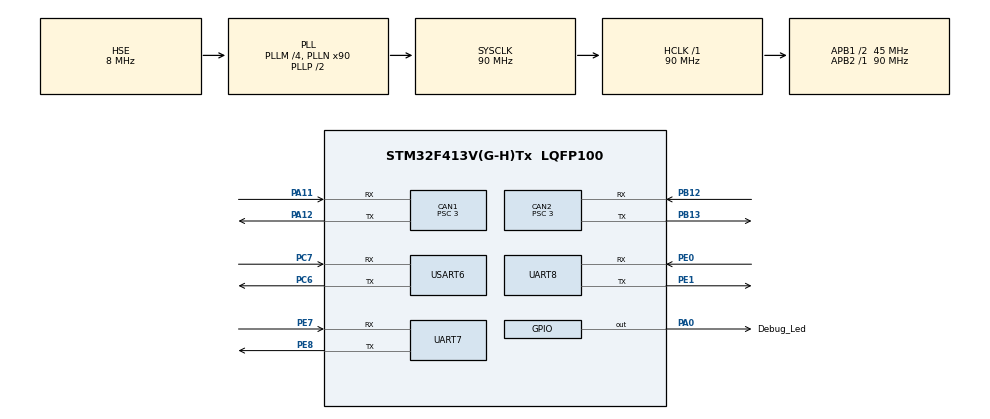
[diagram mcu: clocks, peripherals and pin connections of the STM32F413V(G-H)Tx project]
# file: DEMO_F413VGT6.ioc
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CAN1.ABOM=ENABLE
CAN1.BS1=CAN_BS1_10TQ
CAN1.BS2=CAN_BS2_4TQ
CAN1.CalculateBaudRate=1000000
CAN1.CalculateTimeBit=1000
CAN1.CalculateTimeQuantum=66.66666666666666
CAN1.NART=ENABLE
CAN1.Prescaler=3
CAN2.ABOM=ENABLE
CAN2.BS1=CAN_BS1_10TQ
CAN2.BS2=CAN_BS2_4TQ
CAN2.CalculateBaudRate=1000000
CAN2.CalculateTimeBit=1000
CAN2.CalculateTimeQuantum=66.66666666666666
CAN2.NART=DISABLE
CAN2.Prescaler=3
Mcu.Family=STM32F4
Mcu.Name=STM32F413V(G-H)Tx
Mcu.Package=LQFP100
NVIC.CAN1_RX0_IRQn=true\:0\:0\:false\:false\:true\:true\:true\:true
NVIC.CAN1_RX1_IRQn=true\:0\:0\:false\:false\:true\:true\:true\:true
NVIC.CAN2_RX0_IRQn=true\:0\:0\:false\:false\:true\:true\:true\:true
NVIC.CAN2_RX1_IRQn=true\:0\:0\:false\:false\:true\:true\:true\:true
NVIC.PriorityGroup=NVIC_PRIORITYGROUP_4
NVIC.UART7_IRQn=true\:0\:0\:false\:false\:true\:true\:true\:true
NVIC.UART8_IRQn=true\:0\:0\:false\:false\:true\:true\:true\:true
NVIC.USART6_IRQn=true\:0\:0\:false\:false\:true\:true\:true\:true
PA0.GPIO_Label=Debug_Led
PA0.GPIO_Speed=GPIO_SPEED_FREQ_LOW
PA0.PinState=GPIO_PIN_RESET
PA0.Signal=GPIO_Output
PA11.Mode=CAN_Activate
PA11.Signal=CAN1_RX
PA12.Mode=CAN_Activate
PA12.Signal=CAN1_TX
PA13.Mode=Serial_Wire
PA13.Signal=SYS_JTMS-SWDIO
PA14.Mode=Serial_Wire
PA14.Signal=SYS_JTCK-SWCLK
PB12.GPIO_Speed=GPIO_SPEED_FREQ_VERY_HIGH
PB12.Mode=CAN_Activate
PB12.Signal=CAN2_RX
PB13.Mode=CAN_Activate
PB13.Signal=CAN2_TX
PC14-OSC32_IN.Mode=LSE-External-Oscillator
PC14-OSC32_IN.Signal=RCC_OSC32_IN
PC15-OSC32_OUT.Mode=LSE-External-Oscillator
PC15-OSC32_OUT.Signal=RCC_OSC32_OUT
PC6.Mode=Asynchronous
PC6.Signal=USART6_TX
PC7.Mode=Asynchronous
PC7.Signal=USART6_RX
PE0.Mode=Asynchronous
PE0.Signal=UART8_RX
PE1.Mode=Asynchronous
PE1.Signal=UART8_TX
PE7.Mode=Asynchronous
PE7.Signal=UART7_RX
PE8.Mode=Asynchronous
PE8.Signal=UART7_TX
PH0\ -\ OSC_IN.Mode=HSE-External-Oscillator
PH0\ -\ OSC_IN.Signal=RCC_OSC_IN
PH1\ -\ OSC_OUT.Mode=HSE-External-Oscillator
PH1\ -\ OSC_OUT.Signal=RCC_OSC_OUT
ProjectManager.HeapSize=0x200
ProjectManager.StackSize=0x400
ProjectManager.TargetToolchain=MDK-ARM V5.32
RCC.AHBFreq_Value=90000000
RCC.APB1CLKDivider=RCC_HCLK_DIV2
RCC.APB1Freq_Value=45000000
RCC.APB1TimFreq_Value=90000000
RCC.APB2Freq_Value=90000000
RCC.APB2TimFreq_Value=90000000
RCC.CortexFreq_Value=90000000
RCC.HCLKFreq_Value=90000000
RCC.HSE_VALUE=8000000
RCC.PLLM=4
RCC.PLLN=90
RCC.PLLSourceVirtual=RCC_PLLSOURCE_HSE
RCC.SYSCLKFreq_VALUE=90000000
RCC.SYSCLKSource=RCC_SYSCLKSOURCE_PLLCLK
RCC.USBFreq_Value=90000000
RCC.VCOOutputFreq_Value=180000000
UART7.VirtualMode=Asynchronous
UART8.VirtualMode=Asynchronous
USART6.VirtualMode=VM_ASYNC
board=custom

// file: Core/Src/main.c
/* USER CODE BEGIN Header */
/**
  ******************************************************************************
  * @file           : main.c
  * @brief          : Main program body
  ******************************************************************************
  * @attention
  *
  * Copyright (c) 2023 STMicroelectronics.
  * All rights reserved.
  *
  * This software is licensed under terms that can be found in the LICENSE file
  * in the root directory of this software component.
  * If no LICENSE file comes with this software, it is provided AS-IS.
  *
  ******************************************************************************
  */
/* USER CODE END Header */
#include "main.h"
#include "can.h"
#include "usart.h"
#include "gpio.h"

/* USER CODE BEGIN Includes */
#include "can_database.h"
#include "com_chassis.h"
#include "pid.h"
#include "dji_motor.h"
#include "basic_action.h"
#include "angle.h"
#include "pan.h"
#include "calculate_angle.h"
#include "bezier.h"
#include "math.h"
#include "task1.h"
#include "remote.h"
#define ARRAY_SIZE 60

/* USER CODE END Includes */

void SystemClock_Config(void);

/* USER CODE BEGIN 0 */
uint32_t time[4]={0};
extern float theta[2];
extern float set_point[2][20];
static motor_measure_t motor_inf[8]={0};
float target_angle1,target_angle2=0;
float target1[20]={0};//目标角度1
float target2[20]={0};//目标角度2
extern float target_angle3;
float x,y,z,r=0;

float data[ARRAY_SIZE]={
        0.0000, 1.1458, 2.2906, 3.4336, 4.5739, 5.7106, 6.8428, 7.9696,
        9.0903, 10.2040, 11.3099, 12.4074, 13.4957, 14.5742, 15.6422,
        16.6992, 17.7447, 18.7780, 19.7989, 20.8068, 21.8014, 22.7824,
        23.7495, 24.7024, 25.6410, 26.5651, 27.4744, 28.3690, 29.2488,
        30.1137, 30.9638, 31.7989, 32.6192, 33.4248, 34.2157, 34.9920,
        35.7539, 36.5014, 37.2348, 37.9542, 38.6598, 39.3518, 40.0303,
        40.6955, 41.3478, 41.9872, 42.6141, 43.2285, 43.8309, 44.4213,
        45.0000, 47.7263, 50.1944, 52.4314, 54.4623, 56.3099, 57.9946,
        59.5345, 60.9454, 62.2415};//tan(x)的部分值
/* USER CODE END 0 */

int main(void)
{

  /* MCU Configuration--------------------------------------------------------*/

  /* Reset of all peripherals, Initializes the Flash interface and the Systick. */
  HAL_Init();

  /* Configure the system clock */
  SystemClock_Config();

  /* Initialize all configured peripherals */
  MX_GPIO_Init();
  MX_CAN1_Init();
  MX_CAN2_Init();
  MX_UART7_Init();
  MX_UART8_Init();
  MX_USART6_UART_Init();
  /* USER CODE BEGIN 2 */
  Can_start_work();
	Pid_parameter_init();
	HAL_UART_Receive_IT(&huart7, &recv_data, 1);
  /* USER CODE END 2 */

  /* Infinite loop */
  /* USER CODE BEGIN WHILE */

	time[0]=HAL_GetTick();
	time[1]=time[0];time[2]=time[0];time[3]=time[0];

	USART_printf("ok\n");

  while (1)
  {
    //  Change_dji_loc(1,8000);
      pan_angle(2,720);
     // Change_dji_loc(2,8000);
//      if(rc.sw1==0&&rc.sw2==0)
//      {
//          task3(100,200);
//      }

    /* USER CODE END WHILE */

  }
}

void SystemClock_Config(void)
{
  RCC_OscInitTypeDef RCC_OscInitStruct = {0};
  RCC_ClkInitTypeDef RCC_ClkInitStruct = {0};

  /** Configure the main internal regulator output voltage
  */
  __HAL_RCC_PWR_CLK_ENABLE();
  __HAL_PWR_VOLTAGESCALING_CONFIG(PWR_REGULATOR_VOLTAGE_SCALE1);

  /** Initializes the RCC Oscillators according to the specified parameters
  * in the RCC_OscInitTypeDef structure.
  */
  RCC_OscInitStruct.OscillatorType = RCC_OSCILLATORTYPE_HSE;
  RCC_OscInitStruct.HSEState = RCC_HSE_ON;
  RCC_OscInitStruct.PLL.PLLState = RCC_PLL_ON;
  RCC_OscInitStruct.PLL.PLLSource = RCC_PLLSOURCE_HSE;
  RCC_OscInitStruct.PLL.PLLM = 4;
  RCC_OscInitStruct.PLL.PLLN = 90;
  RCC_OscInitStruct.PLL.PLLP = RCC_PLLP_DIV2;
  RCC_OscInitStruct.PLL.PLLQ = 2;
  RCC_OscInitStruct.PLL.PLLR = 2;
  if (HAL_RCC_OscConfig(&RCC_OscInitStruct) != HAL_OK)
  {
    Error_Handler();
  }

  /** Initializes the CPU, AHB and APB buses clocks
  */
  RCC_ClkInitStruct.ClockType = RCC_CLOCKTYPE_HCLK|RCC_CLOCKTYPE_SYSCLK
                              |RCC_CLOCKTYPE_PCLK1|RCC_CLOCKTYPE_PCLK2;
  RCC_ClkInitStruct.SYSCLKSource = RCC_SYSCLKSOURCE_PLLCLK;
  RCC_ClkInitStruct.AHBCLKDivider = RCC_SYSCLK_DIV1;
  RCC_ClkInitStruct.APB1CLKDivider = RCC_HCLK_DIV2;
  RCC_ClkInitStruct.APB2CLKDivider = RCC_HCLK_DIV1;

  if (HAL_RCC_ClockConfig(&RCC_ClkInitStruct, FLASH_LATENCY_3) != HAL_OK)
  {
    Error_Handler();
  }
}

void Error_Handler(void)
{
  __disable_irq();
  while (1)
  {
  }
}
